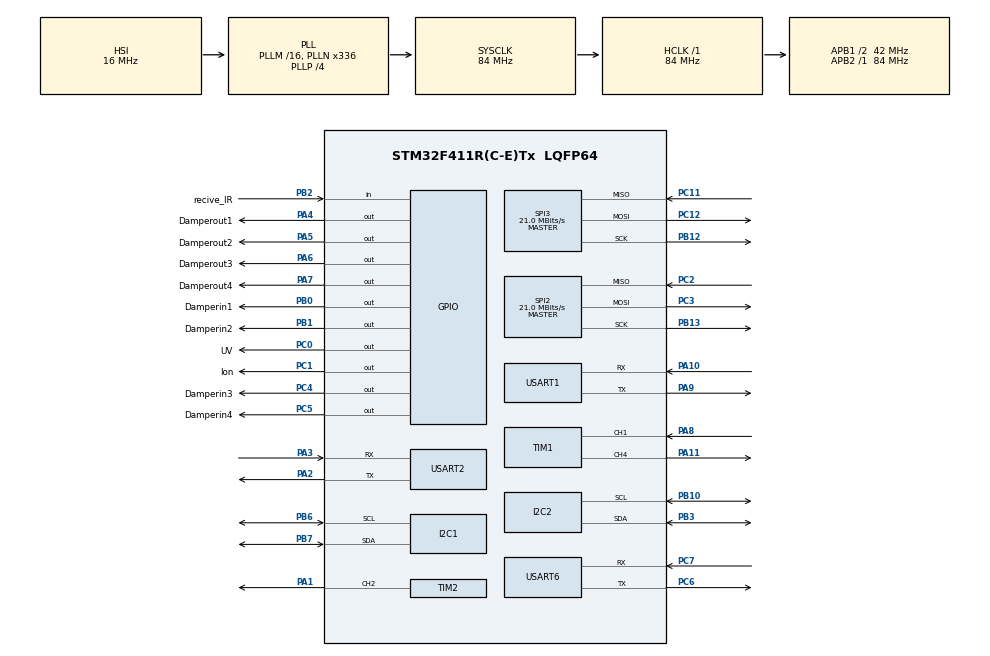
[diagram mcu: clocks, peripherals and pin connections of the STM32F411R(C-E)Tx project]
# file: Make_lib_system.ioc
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FREERTOS.Tasks01=SensorTask,1,128,StartSensor_Task,Default,NULL,Dynamic,NULL,NULL;ControlTask,0,128,StartControl_Task,Default,NULL,Dynamic,NULL,NULL;DisplayTask,-1,128,StartDisplay_task,Default,NULL,Dynamic,NULL,NULL;ServerTask,1,128,StartServer_task,Default,NULL,Dynamic,NULL,NULL
Mcu.Family=STM32F4
Mcu.Name=STM32F411R(C-E)Tx
Mcu.Package=LQFP64
NVIC.I2C1_ER_IRQn=true\:5\:0\:false\:false\:true\:true\:true\:true
NVIC.I2C1_EV_IRQn=true\:5\:0\:false\:false\:true\:true\:true\:true
NVIC.PriorityGroup=NVIC_PRIORITYGROUP_4
NVIC.TIM1_CC_IRQn=true\:5\:0\:false\:false\:true\:true\:true\:true
NVIC.TIM2_IRQn=true\:5\:0\:false\:false\:true\:true\:true\:true
NVIC.TIM3_IRQn=true\:5\:0\:false\:false\:true\:true\:true\:true
NVIC.TIM4_IRQn=true\:0\:0\:false\:false\:true\:false\:false\:true
NVIC.TimeBase=TIM4_IRQn
NVIC.TimeBaseIP=TIM4
NVIC.USART1_IRQn=true\:5\:0\:false\:false\:true\:true\:true\:true
NVIC.USART2_IRQn=true\:5\:0\:false\:false\:true\:true\:true\:true
PA1.Signal=S_TIM2_CH2
PA10.Mode=Asynchronous
PA10.Signal=USART1_RX
PA11.Signal=S_TIM1_CH4
PA2.Mode=Asynchronous
PA2.Signal=USART2_TX
PA3.Mode=Asynchronous
PA3.Signal=USART2_RX
PA4.GPIO_Label=Damperout1
PA4.Signal=GPIO_Output
PA5.GPIO_Label=Damperout2
PA5.Signal=GPIO_Output
PA6.GPIO_Label=Damperout3
PA6.Signal=GPIO_Output
PA7.GPIO_Label=Damperout4
PA7.Signal=GPIO_Output
PA8.Signal=S_TIM1_CH1
PA9.Mode=Asynchronous
PA9.Signal=USART1_TX
PB0.GPIO_Label=Damperin1
PB0.Signal=GPIO_Output
PB1.GPIO_Label=Damperin2
PB1.Signal=GPIO_Output
PB10.Mode=I2C
PB10.Signal=I2C2_SCL
PB12.Mode=Full_Duplex_Master
PB12.Signal=SPI3_SCK
PB13.Mode=Full_Duplex_Master
PB13.Signal=SPI2_SCK
PB2.GPIO_Label=recive_IR
PB2.Signal=GPIO_Input
PB3.Mode=I2C
PB3.Signal=I2C2_SDA
PB6.Mode=I2C
PB6.Signal=I2C1_SCL
PB7.Mode=I2C
PB7.Signal=I2C1_SDA
PC0.GPIO_Label=UV
PC0.Signal=GPIO_Output
PC1.GPIO_Label=Ion
PC1.Signal=GPIO_Output
PC11.Mode=Full_Duplex_Master
PC11.Signal=SPI3_MISO
PC12.Mode=Full_Duplex_Master
PC12.Signal=SPI3_MOSI
PC2.Mode=Full_Duplex_Master
PC2.Signal=SPI2_MISO
PC3.Mode=Full_Duplex_Master
PC3.Signal=SPI2_MOSI
PC4.GPIO_Label=Damperin3
PC4.Signal=GPIO_Output
PC5.GPIO_Label=Damperin4
PC5.Signal=GPIO_Output
PC6.Mode=Asynchronous
PC6.Signal=USART6_TX
PC7.Mode=Asynchronous
PC7.Signal=USART6_RX
PH0\ -\ OSC_IN.Mode=HSE-External-Oscillator
PH0\ -\ OSC_IN.Signal=RCC_OSC_IN
PH1\ -\ OSC_OUT.Mode=HSE-External-Oscillator
PH1\ -\ OSC_OUT.Signal=RCC_OSC_OUT
ProjectManager.HeapSize=0x200
ProjectManager.StackSize=0x400
ProjectManager.TargetToolchain=STM32CubeIDE
RCC.48MHZClocksFreq_Value=84000000
RCC.AHBFreq_Value=84000000
RCC.APB1CLKDivider=RCC_HCLK_DIV2
RCC.APB1Freq_Value=42000000
RCC.APB1TimFreq_Value=84000000
RCC.APB2Freq_Value=84000000
RCC.APB2TimFreq_Value=84000000
RCC.CortexFreq_Value=84000000
RCC.HCLKFreq_Value=84000000
RCC.HSE_VALUE=25000000
RCC.HSI_VALUE=16000000
RCC.LSE_VALUE=32768
RCC.PLLN=336
RCC.PLLP=RCC_PLLP_DIV4
RCC.SYSCLKFreq_VALUE=84000000
RCC.SYSCLKSource=RCC_SYSCLKSOURCE_PLLCLK
RCC.VCOOutputFreq_Value=336000000
SH.S_TIM1_CH1.0=TIM1_CH1,Input_Capture1_from_TI1
SH.S_TIM1_CH4.0=TIM1_CH4,PWM Generation4 CH4
SH.S_TIM2_CH2.0=TIM2_CH2,PWM Generation2 CH2
SPI2.CalculateBaudRate=21.0 MBits/s
SPI2.Direction=SPI_DIRECTION_2LINES
SPI2.Mode=SPI_MODE_MASTER
SPI2.VirtualType=VM_MASTER
SPI3.CalculateBaudRate=21.0 MBits/s
SPI3.Direction=SPI_DIRECTION_2LINES
SPI3.Mode=SPI_MODE_MASTER
SPI3.VirtualType=VM_MASTER
TIM1.Channel-Input_Capture1_from_TI1=TIM_CHANNEL_1
TIM1.Channel-PWM\ Generation4\ CH4=TIM_CHANNEL_4
TIM2.Channel-PWM\ Generation2\ CH2=TIM_CHANNEL_2
USART1.VirtualMode=VM_ASYNC
USART2.VirtualMode=VM_ASYNC
USART6.VirtualMode=VM_ASYNC
VP_FREERTOS_VS_CMSIS_V1.Mode=CMSIS_V1
VP_SYS_VS_tim4.Mode=TIM4
VP_TIM2_VS_ClockSourceINT.Mode=Internal
VP_TIM3_VS_ClockSourceINT.Mode=Internal
board=custom

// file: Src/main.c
/* USER CODE BEGIN Header */
/**
  ******************************************************************************
  * @file           : main.c
  * @brief          : Main program body
  ******************************************************************************
  * @attention
  *
  * <h2><center>&copy; Copyright (c) 2020 STMicroelectronics.
  * All rights reserved.</center></h2>
  *
  * This software component is licensed by ST under Ultimate Liberty license
  * SLA0044, the "License"; You may not use this file except in compliance with
  * the License. You may obtain a copy of the License at:
  *                             www.st.com/SLA0044
  *
  ******************************************************************************
  */
/* USER CODE END Header */

#include "main.h"
#include "cmsis_os.h"
#include "stdbool.h"

#include "string.h"
#include "IRremote.h"
#include "MQTTClient.h"
#include "MQTTConnect.h"
#include "amw_uart.h"

/* USER CODE BEGIN PD */
#define MQTT_PUB_TOPIC              "leetest"
#define MQTT_SUB_TOPIC              "diem"
#define MQTT_CLIENT_ID              "Zentri"
#define MQTT_USER                   "myuncjoa"
#define MQTT_PASSWORD               "SvVx1BPwTVqk"
#define MQTT_HOST                   "m24.cloudmqtt.com"
#define MQTT_PORT                   14022
#define MQTT_PUBLISH_PERIOD         5000
#define MQTT_MESSAGE                "{\"state\":{\"desired\":{\"message\":\"Time now: %lu\"}}}"
//** Define SSID và PASSWORD để kết nối wifi **//
#define SSID_WIFI "Lee123"
#define PASS_WIFI "leecan123"
//** Define MQTT TOPIC cần subcribse từ Broker để giao tiếp vs app **//
#define TOPIC_DEVICE_ID "esp/request/collect/device-info"
#define TOPIC_AIR_QUALITY "esp/request/collect/air-quality"
#define TOPIC_CONTROL_STATE "esp/request/collect/control-state"
#define TOPIC_POWER_ON "esp/request/control/power-on"
#define TOPIC_POWER_OFF "esp/request/control/power-off"
#define TOPIC_NIGHT_MODE "esp/request/control/night_mode"
#define TOPIC_ION "esp/request/control/ion"
#define TOPIC_UV "esp/request/control/uv"
#define TOPIC_FILTER "esp/request/control/filter_mode"
#define TOPIC_CONTROL "esp/request/control/control_mode"
#define TOPIC_SPEED_LOW "esp/request/control/low"
#define TOPIC_SPEED_MED "esp/request/control/med"
#define TOPIC_SPEED_HIGH "esp/request/control/high"
//** Define MQTT Topic cần để publish lên Broker**//
#define TOPIC_PUB_AIR_QUALITY 	"esp/response/collect/air-quality"
#define TOPIC_PUB_CONTROL_STATE  "esp/response/collect/control-state"

/* USER CODE END PD */

I2C_HandleTypeDef hi2c1;
I2C_HandleTypeDef hi2c2;

SPI_HandleTypeDef hspi2;
SPI_HandleTypeDef hspi3;

TIM_HandleTypeDef htim1;
TIM_HandleTypeDef htim2;
TIM_HandleTypeDef htim3;

UART_HandleTypeDef huart1;
UART_HandleTypeDef huart2;
UART_HandleTypeDef huart6;

osThreadId SensorTaskHandle;
osThreadId ControlTaskHandle;
osThreadId DisplayTaskHandle;
osThreadId ServerTaskHandle;

void SystemClock_Config(void);
static void MX_GPIO_Init(void);
static void MX_I2C1_Init(void);
static void MX_I2C2_Init(void);
static void MX_SPI2_Init(void);
static void MX_SPI3_Init(void);
static void MX_TIM1_Init(void);
static void MX_TIM2_Init(void);
static void MX_TIM3_Init(void);
static void MX_USART1_UART_Init(void);
static void MX_USART2_UART_Init(void);
static void MX_USART6_UART_Init(void);
void StartSensor_Task(void const * argument);
void StartControl_Task(void const * argument);
void StartDisplay_task(void const * argument);
void StartServer_task(void const * argument);

/* USER CODE BEGIN PFP */
// biến mqtt
char  Rx_data[2], Rx_Buffer[40];
unsigned char uart_reponse[512];
int Transfer_cplt = 0;
int Rx_indx = 0;
static MQTTClient client = DefaultClient;
uint8_t start_subcribe = 0;
int i = 0;
int ret;
unsigned char send_buf[512];
unsigned char recv_buf[2048];
//biến chế độ hệ thống
int night_mode;
int filter_mode;
int speed;
int power;
int Vanst = 0;
int control_mode;
int UV_mode;
int ION_mode;
int ion_val;
bool huong;

/* USER CODE END PFP */

/* USER CODE BEGIN 0 */

int count = 0;

/* USER CODE END 0 */
static void publish()
{
    char buf[100];
    MQTTMessage message;
    int rc;
    sprintf(buf, MQTT_MESSAGE, (long unsigned int) HAL_GetTick()/1000);
    message.qos = QOS1;
    message.retained = 1;
    message.dup = 0;
    message.payload = (void*)buf;
    message.payloadlen = strlen(buf);

    rc = MQTTPublish(&client, MQTT_PUB_TOPIC, &message);
    printf("rc %d\r\n", rc);
}

void HAL_UART_RxCpltCallback(UART_HandleTypeDef *huart)
{
	printf("int\r\n");
    uint8_t i;
    if (huart->Instance == USART1)
        {
        if (Rx_indx==0 && Transfer_cplt==0) {for (i=0;i<100;i++) Rx_Buffer[i]=0;}

        if (Rx_data[0]!='\n')
            {
            Rx_Buffer[Rx_indx++]=Rx_data[0];
            }
        else
            {
            Rx_indx=0;
            Transfer_cplt=1;
            }

        HAL_UART_Receive_IT(&huart1, Rx_data, 1);
        }

}

static void receive_handler(MessageData* rx_msg)
{
    printf("receive mqtt %s\r\n", rx_msg->message->payload);
}

/* mình không sử dụng cái này*/
void testMQTT(){

	Network network;
	MQTTPacket_connectData data = MQTTPacket_connectData_initializer;

	Timer timer;
	// Doan nay co the thay bang ham
	  memset(uart_reponse, 0, sizeof(uart_reponse));
	  amw_write("set system.cmd.format machine\r\n");
	  i = getCmdResponse(uart_reponse);
	  printf("%d, %s\r\n", i, uart_reponse);

	  data.MQTTVersion = 4;
	  data.clientID.cstring = MQTT_CLIENT_ID;
	  data.username.cstring = MQTT_USER;
	  data.password.cstring = MQTT_PASSWORD;
	  HAL_Delay(100);
	  if(setupNetwork(SSID_WIFI, PASS_WIFI)){
		  printf("setup network failed\r\n");
	  }
	  HAL_Delay(100);
	  if(NetworkInit(&network))
		  printf("init failed\r\n");
	  else
		  printf("network up\r\n");
	  HAL_Delay(100);
	  ret = NetworkConnect(&network, MQTT_HOST, MQTT_PORT);
	  if(ret == FAILURE)
	  {
		  // error, return
		  printf("network connect tcp failed\r\n");
		  HAL_Delay(100);
		  amw_write("close 0\r\n");
		  i = getCmdResponse(uart_reponse);
		  printf("%d, %s\r\n", i, uart_reponse);
		  return ret;
	  }
	  printf("network connect tcp success\r\n");
	  HAL_Delay(250);

	  MQTTClientInit(&client, &network, 10000, send_buf, sizeof(send_buf), recv_buf, sizeof(recv_buf));
	  HAL_Delay(250);

	  ret = MQTTConnect(&client, &data);
	  if(ret != SUCCESS)
	  {
		  // error, return
		  printf("failed to connect mqtt\r\n");
		  NetworkDisconnect(&network);
		  return ret;
	  }
	  printf("success to connect mqtt\r\n");
	  HAL_Delay(250);
	  MQTTSubscribe(&client, MQTT_SUB_TOPIC, QOS0, receive_handler);
	  start_subcribe = 1;
	  HAL_Delay(250);
	  publish();
	  TimerInit(&timer);
	  TimerCountdownMS(&timer, 90000);
	  while (!TimerIsExpired(&timer))
	  {
	    /* USER CODE END WHILE */

	    /* USER CODE BEGIN 3 */
		  MQTTYield(&client, 500);
	  }
	  printf("disconnect\r\n");
	  NetworkDisconnect(&network);
	  /* USER CODE END 3 */
}
/* Khởi tạo kết nối MQTT */
void init_MQTT(void){
		Network network;
		MQTTPacket_connectData data = MQTTPacket_connectData_initializer;

		Timer timer;
		// Doan nay co the thay bang ham
		  memset(uart_reponse, 0, sizeof(uart_reponse));
		  amw_write("set system.cmd.format machine\r\n");
		  i = getCmdResponse(uart_reponse);
		  printf("%d, %s\r\n", i, uart_reponse);

		  data.MQTTVersion = 4;
		  data.clientID.cstring = MQTT_CLIENT_ID;
		  data.username.cstring = MQTT_USER;
		  data.password.cstring = MQTT_PASSWORD;
		  HAL_Delay(100);
		  if(setupNetwork("Lee123", "leecan123")){
			  printf("setup network failed\r\n");
		  }
		  HAL_Delay(100);
		  if(NetworkInit(&network))
			  printf("init failed\r\n");
		  else
			  printf("network up\r\n");
		  HAL_Delay(100);
		  ret = NetworkConnect(&network, MQTT_HOST, MQTT_PORT);
		  if(ret == FAILURE)
		  {
			  // error, return
			  printf("network connect tcp failed\r\n");
			  HAL_Delay(100);
			  amw_write("close 0\r\n");
			  i = getCmdResponse(uart_reponse);
			  printf("%d, %s\r\n", i, uart_reponse);
			  return ret;
		  }
		  printf("network connect tcp success\r\n");
		  HAL_Delay(250);

		  MQTTClientInit(&client, &network, 10000, send_buf, sizeof(send_buf), recv_buf, sizeof(recv_buf));
		  HAL_Delay(250);

		  ret = MQTTConnect(&client, &data);
		  if(ret != SUCCESS)
		  {
			  // error, return
			  printf("failed to connect mqtt\r\n");
			  NetworkDisconnect(&network);
			  return ret;
		  }
		  printf("success to connect mqtt\r\n");
}
void Subcribes_MQTT(void){
	 MQTTSubscribe(&client, TOPIC_DEVICE_ID, QOS0, receive_handler);
	 HAL_Delay(250);
	 MQTTSubscribe(&client, TOPIC_AIR_QUALITY, QOS0, receive_handler);
	 HAL_Delay(250);
	 MQTTSubscribe(&client, TOPIC_CONTROL_STATE, QOS0, receive_handler);
	 HAL_Delay(250);
	 MQTTSubscribe(&client, TOPIC_POWER_ON, QOS0, receive_handler);
	 HAL_Delay(250);
	 MQTTSubscribe(&client, TOPIC_POWER_OFF, QOS0, receive_handler);
	 HAL_Delay(250);
	 MQTTSubscribe(&client, TOPIC_NIGHT_MODE, QOS0, receive_handler);
	 HAL_Delay(250);
	 MQTTSubscribe(&client, TOPIC_ION, QOS0, receive_handler);
	 HAL_Delay(250);
	 MQTTSubscribe(&client, TOPIC_UV, QOS0, receive_handler);
	 HAL_Delay(250);
	 MQTTSubscribe(&client, TOPIC_FILTER, QOS0, receive_handler);
	 HAL_Delay(250);
	 MQTTSubscribe(&client, TOPIC_CONTROL, QOS0, receive_handler);
	 HAL_Delay(250);
	 MQTTSubscribe(&client, TOPIC_SPEED_LOW, QOS0, receive_handler);
	 HAL_Delay(250);
	 MQTTSubscribe(&client, TOPIC_SPEED_MED, QOS0, receive_handler);
	 HAL_Delay(250);
	 MQTTSubscribe(&client, TOPIC_SPEED_HIGH, QOS0, receive_handler);

}
int main(void)
{

  /* MCU Configuration--------------------------------------------------------*/

  /* Reset of all peripherals, Initializes the Flash interface and the Systick. */
  HAL_Init();

  /* Configure the system clock */
  SystemClock_Config();

  /* Initialize all configured peripherals */
  MX_GPIO_Init();
  MX_I2C1_Init();
  MX_I2C2_Init();
  MX_SPI2_Init();
  MX_SPI3_Init();
  MX_TIM1_Init();
  MX_TIM2_Init();
  MX_TIM3_Init();
  MX_USART1_UART_Init();
  MX_USART2_UART_Init();
  MX_USART6_UART_Init();
  /* USER CODE BEGIN 2 */
  //khởi tạo kết nối cho IR
  my_enableIRIn();
   //testMQTT();
  // Khởi tạo kết nối đến cảm biến

  // Khởi tạo PWM cho quạt

  // Khởi tạo kết nối MQTT
   init_MQTT();

  // Khởi tạo chế độ ban đầu cho hệ thống, ở đây sau này là lấy các biến lưu trong EEPROM
  night_mode = Nightmode_Off;
  speed = low;
  power = Power_On;
  control_mode = Manual;
  filter_mode = Fresh_Air;
  UV_mode = UVon;
  ION_mode = IONoff;
  ion_val = 0;
  HAL_GPIO_WritePin(UV_GPIO_Port, UV_Pin, GPIO_PIN_SET);
  HAL_GPIO_WritePin(Ion_GPIO_Port, Ion_Pin, GPIO_PIN_RESET);
  fan_12_run(lowspeed);
  Subcribes_MQTT();

  /* USER CODE END 2 */

  /* Create the thread(s) */
  /* definition and creation of SensorTask */
  osThreadDef(SensorTask, StartSensor_Task, osPriorityAboveNormal, 0, 128);
  SensorTaskHandle = osThreadCreate(osThread(SensorTask), NULL);

  /* definition and creation of ControlTask */
  osThreadDef(ControlTask, StartControl_Task, osPriorityNormal, 0, 128);
  ControlTaskHandle = osThreadCreate(osThread(ControlTask), NULL);

  /* definition and creation of DisplayTask */
  osThreadDef(DisplayTask, StartDisplay_task, osPriorityBelowNormal, 0, 128);
  DisplayTaskHandle = osThreadCreate(osThread(DisplayTask), NULL);

  /* definition and creation of ServerTask */
  osThreadDef(ServerTask, StartServer_task, osPriorityAboveNormal, 0, 128);
  ServerTaskHandle = osThreadCreate(osThread(ServerTask), NULL);

  /* Start scheduler */
  osKernelStart();

  /* We should never get here as control is now taken by the scheduler */

  /* Infinite loop */
  while (1)
  {

  }
}

void SystemClock_Config(void)
{
  RCC_OscInitTypeDef RCC_OscInitStruct = {0};
  RCC_ClkInitTypeDef RCC_ClkInitStruct = {0};

  /** Configure the main internal regulator output voltage
  */
  __HAL_RCC_PWR_CLK_ENABLE();
  __HAL_PWR_VOLTAGESCALING_CONFIG(PWR_REGULATOR_VOLTAGE_SCALE1);
  /** Initializes the CPU, AHB and APB busses clocks
  */
  RCC_OscInitStruct.OscillatorType = RCC_OSCILLATORTYPE_HSI;
  RCC_OscInitStruct.HSIState = RCC_HSI_ON;
  RCC_OscInitStruct.HSICalibrationValue = RCC_HSICALIBRATION_DEFAULT;
  RCC_OscInitStruct.PLL.PLLState = RCC_PLL_ON;
  RCC_OscInitStruct.PLL.PLLSource = RCC_PLLSOURCE_HSI;
  RCC_OscInitStruct.PLL.PLLM = 16;
  RCC_OscInitStruct.PLL.PLLN = 336;
  RCC_OscInitStruct.PLL.PLLP = RCC_PLLP_DIV4;
  RCC_OscInitStruct.PLL.PLLQ = 4;
  if (HAL_RCC_OscConfig(&RCC_OscInitStruct) != HAL_OK)
  {
    Error_Handler();
  }
  /** Initializes the CPU, AHB and APB busses clocks
  */
  RCC_ClkInitStruct.ClockType = RCC_CLOCKTYPE_HCLK|RCC_CLOCKTYPE_SYSCLK
                              |RCC_CLOCKTYPE_PCLK1|RCC_CLOCKTYPE_PCLK2;
  RCC_ClkInitStruct.SYSCLKSource = RCC_SYSCLKSOURCE_PLLCLK;
  RCC_ClkInitStruct.AHBCLKDivider = RCC_SYSCLK_DIV1;
  RCC_ClkInitStruct.APB1CLKDivider = RCC_HCLK_DIV2;
  RCC_ClkInitStruct.APB2CLKDivider = RCC_HCLK_DIV1;

  if (HAL_RCC_ClockConfig(&RCC_ClkInitStruct, FLASH_LATENCY_2) != HAL_OK)
  {
    Error_Handler();
  }
}

static void MX_I2C1_Init(void)
{

  hi2c1.Instance = I2C1;
  hi2c1.Init.ClockSpeed = 100000;
  hi2c1.Init.DutyCycle = I2C_DUTYCYCLE_2;
  hi2c1.Init.OwnAddress1 = 0;
  hi2c1.Init.AddressingMode = I2C_ADDRESSINGMODE_7BIT;
  hi2c1.Init.DualAddressMode = I2C_DUALADDRESS_DISABLE;
  hi2c1.Init.OwnAddress2 = 0;
  hi2c1.Init.GeneralCallMode = I2C_GENERALCALL_DISABLE;
  hi2c1.Init.NoStretchMode = I2C_NOSTRETCH_DISABLE;
  if (HAL_I2C_Init(&hi2c1) != HAL_OK)
  {
    Error_Handler();
  }

}

static void MX_I2C2_Init(void)
{

  hi2c2.Instance = I2C2;
  hi2c2.Init.ClockSpeed = 100000;
  hi2c2.Init.DutyCycle = I2C_DUTYCYCLE_2;
  hi2c2.Init.OwnAddress1 = 0;
  hi2c2.Init.AddressingMode = I2C_ADDRESSINGMODE_7BIT;
  hi2c2.Init.DualAddressMode = I2C_DUALADDRESS_DISABLE;
  hi2c2.Init.OwnAddress2 = 0;
  hi2c2.Init.GeneralCallMode = I2C_GENERALCALL_DISABLE;
  hi2c2.Init.NoStretchMode = I2C_NOSTRETCH_DISABLE;
  if (HAL_I2C_Init(&hi2c2) != HAL_OK)
  {
    Error_Handler();
  }

}

static void MX_SPI2_Init(void)
{

  /* SPI2 parameter configuration*/
  hspi2.Instance = SPI2;
  hspi2.Init.Mode = SPI_MODE_MASTER;
  hspi2.Init.Direction = SPI_DIRECTION_2LINES;
  hspi2.Init.DataSize = SPI_DATASIZE_8BIT;
  hspi2.Init.CLKPolarity = SPI_POLARITY_LOW;
  hspi2.Init.CLKPhase = SPI_PHASE_1EDGE;
  hspi2.Init.NSS = SPI_NSS_SOFT;
  hspi2.Init.BaudRatePrescaler = SPI_BAUDRATEPRESCALER_2;
  hspi2.Init.FirstBit = SPI_FIRSTBIT_MSB;
  hspi2.Init.TIMode = SPI_TIMODE_DISABLE;
  hspi2.Init.CRCCalculation = SPI_CRCCALCULATION_DISABLE;
  hspi2.Init.CRCPolynomial = 10;
  if (HAL_SPI_Init(&hspi2) != HAL_OK)
  {
    Error_Handler();
  }

}

static void MX_SPI3_Init(void)
{

  /* SPI3 parameter configuration*/
  hspi3.Instance = SPI3;
  hspi3.Init.Mode = SPI_MODE_MASTER;
  hspi3.Init.Direction = SPI_DIRECTION_2LINES;
  hspi3.Init.DataSize = SPI_DATASIZE_8BIT;
  hspi3.Init.CLKPolarity = SPI_POLARITY_LOW;
  hspi3.Init.CLKPhase = SPI_PHASE_1EDGE;
  hspi3.Init.NSS = SPI_NSS_SOFT;
  hspi3.Init.BaudRatePrescaler = SPI_BAUDRATEPRESCALER_2;
  hspi3.Init.FirstBit = SPI_FIRSTBIT_MSB;
  hspi3.Init.TIMode = SPI_TIMODE_DISABLE;
  hspi3.Init.CRCCalculation = SPI_CRCCALCULATION_DISABLE;
  hspi3.Init.CRCPolynomial = 10;
  if (HAL_SPI_Init(&hspi3) != HAL_OK)
  {
    Error_Handler();
  }

}

static void MX_TIM1_Init(void)
{

  TIM_MasterConfigTypeDef sMasterConfig = {0};
  TIM_IC_InitTypeDef sConfigIC = {0};
  TIM_OC_InitTypeDef sConfigOC = {0};
  TIM_BreakDeadTimeConfigTypeDef sBreakDeadTimeConfig = {0};

  htim1.Instance = TIM1;
  htim1.Init.Prescaler = 0;
  htim1.Init.CounterMode = TIM_COUNTERMODE_UP;
  htim1.Init.Period = 0;
  htim1.Init.ClockDivision = TIM_CLOCKDIVISION_DIV1;
  htim1.Init.RepetitionCounter = 0;
  htim1.Init.AutoReloadPreload = TIM_AUTORELOAD_PRELOAD_DISABLE;
  if (HAL_TIM_IC_Init(&htim1) != HAL_OK)
  {
    Error_Handler();
  }
  if (HAL_TIM_PWM_Init(&htim1) != HAL_OK)
  {
    Error_Handler();
  }
  sMasterConfig.MasterOutputTrigger = TIM_TRGO_RESET;
  sMasterConfig.MasterSlaveMode = TIM_MASTERSLAVEMODE_DISABLE;
  if (HAL_TIMEx_MasterConfigSynchronization(&htim1, &sMasterConfig) != HAL_OK)
  {
    Error_Handler();
  }
  sConfigIC.ICPolarity = TIM_INPUTCHANNELPOLARITY_RISING;
  sConfigIC.ICSelection = TIM_ICSELECTION_DIRECTTI;
  sConfigIC.ICPrescaler = TIM_ICPSC_DIV1;
  sConfigIC.ICFilter = 0;
  if (HAL_TIM_IC_ConfigChannel(&htim1, &sConfigIC, TIM_CHANNEL_1) != HAL_OK)
  {
    Error_Handler();
  }
  sConfigOC.OCMode = TIM_OCMODE_PWM1;
  sConfigOC.Pulse = 0;
  sConfigOC.OCPolarity = TIM_OCPOLARITY_HIGH;
  sConfigOC.OCFastMode = TIM_OCFAST_DISABLE;
  sConfigOC.OCIdleState = TIM_OCIDLESTATE_RESET;
  sConfigOC.OCNIdleState = TIM_OCNIDLESTATE_RESET;
  if (HAL_TIM_PWM_ConfigChannel(&htim1, &sConfigOC, TIM_CHANNEL_4) != HAL_OK)
  {
    Error_Handler();
  }
  sBreakDeadTimeConfig.OffStateRunMode = TIM_OSSR_DISABLE;
  sBreakDeadTimeConfig.OffStateIDLEMode = TIM_OSSI_DISABLE;
  sBreakDeadTimeConfig.LockLevel = TIM_LOCKLEVEL_OFF;
  sBreakDeadTimeConfig.DeadTime = 0;
  sBreakDeadTimeConfig.BreakState = TIM_BREAK_DISABLE;
  sBreakDeadTimeConfig.BreakPolarity = TIM_BREAKPOLARITY_HIGH;
  sBreakDeadTimeConfig.AutomaticOutput = TIM_AUTOMATICOUTPUT_DISABLE;
  if (HAL_TIMEx_ConfigBreakDeadTime(&htim1, &sBreakDeadTimeConfig) != HAL_OK)
  {
    Error_Handler();
  }
  HAL_TIM_MspPostInit(&htim1);

}

static void MX_TIM2_Init(void)
{

  TIM_ClockConfigTypeDef sClockSourceConfig = {0};
  TIM_MasterConfigTypeDef sMasterConfig = {0};
  TIM_OC_InitTypeDef sConfigOC = {0};

  htim2.Instance = TIM2;
  htim2.Init.Prescaler = 0;
  htim2.Init.CounterMode = TIM_COUNTERMODE_UP;
  htim2.Init.Period = 0;
  htim2.Init.ClockDivision = TIM_CLOCKDIVISION_DIV1;
  htim2.Init.AutoReloadPreload = TIM_AUTORELOAD_PRELOAD_DISABLE;
  if (HAL_TIM_Base_Init(&htim2) != HAL_OK)
  {
    Error_Handler();
  }
  sClockSourceConfig.ClockSource = TIM_CLOCKSOURCE_INTERNAL;
  if (HAL_TIM_ConfigClockSource(&htim2, &sClockSourceConfig) != HAL_OK)
  {
    Error_Handler();
  }
  if (HAL_TIM_PWM_Init(&htim2) != HAL_OK)
  {
    Error_Handler();
  }
  sMasterConfig.MasterOutputTrigger = TIM_TRGO_RESET;
  sMasterConfig.MasterSlaveMode = TIM_MASTERSLAVEMODE_DISABLE;
  if (HAL_TIMEx_MasterConfigSynchronization(&htim2, &sMasterConfig) != HAL_OK)
  {
    Error_Handler();
  }
  sConfigOC.OCMode = TIM_OCMODE_PWM1;
  sConfigOC.Pulse = 0;
  sConfigOC.OCPolarity = TIM_OCPOLARITY_HIGH;
  sConfigOC.OCFastMode = TIM_OCFAST_DISABLE;
  if (HAL_TIM_PWM_ConfigChannel(&htim2, &sConfigOC, TIM_CHANNEL_2) != HAL_OK)
  {
    Error_Handler();
  }
  HAL_TIM_MspPostInit(&htim2);

}

static void MX_TIM3_Init(void)
{

  TIM_ClockConfigTypeDef sClockSourceConfig = {0};
  TIM_MasterConfigTypeDef sMasterConfig = {0};

  htim3.Instance = TIM3;
  htim3.Init.Prescaler = 0;
  htim3.Init.CounterMode = TIM_COUNTERMODE_UP;
  htim3.Init.Period = 0;
  htim3.Init.ClockDivision = TIM_CLOCKDIVISION_DIV1;
  htim3.Init.AutoReloadPreload = TIM_AUTORELOAD_PRELOAD_DISABLE;
  if (HAL_TIM_Base_Init(&htim3) != HAL_OK)
  {
    Error_Handler();
  }
  sClockSourceConfig.ClockSource = TIM_CLOCKSOURCE_INTERNAL;
  if (HAL_TIM_ConfigClockSource(&htim3, &sClockSourceConfig) != HAL_OK)
  {
    Error_Handler();
  }
  sMasterConfig.MasterOutputTrigger = TIM_TRGO_RESET;
  sMasterConfig.MasterSlaveMode = TIM_MASTERSLAVEMODE_DISABLE;
  if (HAL_TIMEx_MasterConfigSynchronization(&htim3, &sMasterConfig) != HAL_OK)
  {
    Error_Handler();
  }

}

static void MX_USART1_UART_Init(void)
{

  huart1.Instance = USART1;
  huart1.Init.BaudRate = 115200;
  huart1.Init.WordLength = UART_WORDLENGTH_8B;
  huart1.Init.StopBits = UART_STOPBITS_1;
  huart1.Init.Parity = UART_PARITY_NONE;
  huart1.Init.Mode = UART_MODE_TX_RX;
  huart1.Init.HwFlowCtl = UART_HWCONTROL_NONE;
  huart1.Init.OverSampling = UART_OVERSAMPLING_16;
  if (HAL_UART_Init(&huart1) != HAL_OK)
  {
    Error_Handler();
  }

}

static void MX_USART2_UART_Init(void)
{

  huart2.Instance = USART2;
  huart2.Init.BaudRate = 115200;
  huart2.Init.WordLength = UART_WORDLENGTH_8B;
  huart2.Init.StopBits = UART_STOPBITS_1;
  huart2.Init.Parity = UART_PARITY_NONE;
  huart2.Init.Mode = UART_MODE_TX_RX;
  huart2.Init.HwFlowCtl = UART_HWCONTROL_NONE;
  huart2.Init.OverSampling = UART_OVERSAMPLING_16;
  if (HAL_UART_Init(&huart2) != HAL_OK)
  {
    Error_Handler();
  }

}

static void MX_USART6_UART_Init(void)
{

  huart6.Instance = USART6;
  huart6.Init.BaudRate = 115200;
  huart6.Init.WordLength = UART_WORDLENGTH_8B;
  huart6.Init.StopBits = UART_STOPBITS_1;
  huart6.Init.Parity = UART_PARITY_NONE;
  huart6.Init.Mode = UART_MODE_TX_RX;
  huart6.Init.HwFlowCtl = UART_HWCONTROL_NONE;
  huart6.Init.OverSampling = UART_OVERSAMPLING_16;
  if (HAL_UART_Init(&huart6) != HAL_OK)
  {
    Error_Handler();
  }

}

static void MX_GPIO_Init(void)
{
  GPIO_InitTypeDef GPIO_InitStruct = {0};

  /* GPIO Ports Clock Enable */
  __HAL_RCC_GPIOH_CLK_ENABLE();
  __HAL_RCC_GPIOC_CLK_ENABLE();
  __HAL_RCC_GPIOA_CLK_ENABLE();
  __HAL_RCC_GPIOB_CLK_ENABLE();

  /*Configure GPIO pin Output Level */
  HAL_GPIO_WritePin(GPIOC, UV_Pin|Ion_Pin|Damperin3_Pin|Damperin4_Pin, GPIO_PIN_RESET);

  /*Configure GPIO pin Output Level */
  HAL_GPIO_WritePin(GPIOA, Damperout1_Pin|Damperout2_Pin|Damperout3_Pin|Damperout4_Pin, GPIO_PIN_RESET);

  /*Configure GPIO pin Output Level */
  HAL_GPIO_WritePin(GPIOB, Damperin1_Pin|Damperin2_Pin, GPIO_PIN_RESET);

  /*Configure GPIO pins : UV_Pin Ion_Pin Damperin3_Pin Damperin4_Pin */
  GPIO_InitStruct.Pin = UV_Pin|Ion_Pin|Damperin3_Pin|Damperin4_Pin;
  GPIO_InitStruct.Mode = GPIO_MODE_OUTPUT_PP;
  GPIO_InitStruct.Pull = GPIO_NOPULL;
  GPIO_InitStruct.Speed = GPIO_SPEED_FREQ_LOW;
  HAL_GPIO_Init(GPIOC, &GPIO_InitStruct);

  /*Configure GPIO pins : Damperout1_Pin Damperout2_Pin Damperout3_Pin Damperout4_Pin */
  GPIO_InitStruct.Pin = Damperout1_Pin|Damperout2_Pin|Damperout3_Pin|Damperout4_Pin;
  GPIO_InitStruct.Mode = GPIO_MODE_OUTPUT_PP;
  GPIO_InitStruct.Pull = GPIO_NOPULL;
  GPIO_InitStruct.Speed = GPIO_SPEED_FREQ_LOW;
  HAL_GPIO_Init(GPIOA, &GPIO_InitStruct);

  /*Configure GPIO pins : Damperin1_Pin Damperin2_Pin */
  GPIO_InitStruct.Pin = Damperin1_Pin|Damperin2_Pin;
  GPIO_InitStruct.Mode = GPIO_MODE_OUTPUT_PP;
  GPIO_InitStruct.Pull = GPIO_NOPULL;
  GPIO_InitStruct.Speed = GPIO_SPEED_FREQ_LOW;
  HAL_GPIO_Init(GPIOB, &GPIO_InitStruct);

  /*Configure GPIO pin : recive_IR_Pin */
  GPIO_InitStruct.Pin = recive_IR_Pin;
  GPIO_InitStruct.Mode = GPIO_MODE_INPUT;
  GPIO_InitStruct.Pull = GPIO_NOPULL;
  HAL_GPIO_Init(recive_IR_GPIO_Port, &GPIO_InitStruct);

}

void StartSensor_Task(void const * argument)
{

  /* USER CODE BEGIN 5 */
  /* Infinite loop */
  for(;;)
  {

    osDelay(500);
  }
  /* USER CODE END 5 */
}

void StartControl_Task(void const * argument)
{
  /* USER CODE BEGIN StartControl_Task */
	 char trans_str[96] = {0,};
	 static char *decode_str[] = {"UNUSED", "UNKNOWN", "RC5", "RC6", "NEC", "SONY", "PANASONIC", "JVC", "SAMSUNG", "WHYNTER", "AIWA_RC_T501", "LG", "SANYO", "MITSUBISHI", "DISH", "SHARP", "DENON", "PRONTO"};
	 if (Vanst == 1){
	  Vanst = 3;
	  directionOfRotation(false, 220);
	}
	else if(Vanst == 0){
	  Vanst = 3;
	  directionOfRotation(true, 220);
	}
 /* Infinite loop */
 for(;;)
 {
	if(my_decode(&results))
		{

			snprintf(trans_str, 96, "Cod: %p | Type: %s | Bits: %d\n", (void*)results.value, decode_str[results.decode_type + 1], results.bits);
			HAL_UART_Transmit(&huart2, (uint8_t*)&trans_str, sizeof(trans_str), 100);
			HAL_GPIO_TogglePin(GPIOA, GPIO_PIN_5);
			my_resume();
		}
   osDelay(500);
 }
 /* USER CODE END StartcontrolTask */
}

void StartDisplay_task(void const * argument)
{
  /* USER CODE BEGIN StartDisplay_task */
  /* Infinite loop */
  for(;;)
  {
    osDelay(500);
  }
  /* USER CODE END StartDisplay_task */
}

void StartServer_task(void const * argument)
{
  /* USER CODE BEGIN StartServer_task */
  /* Infinite loop */
  for(;;)
  {
    osDelay(500);
  }
  /* USER CODE END StartServer_task */
}

//void HAL_TIM_PeriodElapsedCallback(TIM_HandleTypeDef *htim)
//{
  //if (htim->Instance == TIM4) {
   // HAL_IncTick();
 // }
//}

void Error_Handler(void)
{
}

/************************ (C) COPYRIGHT STMicroelectronics *****END OF FILE****/
